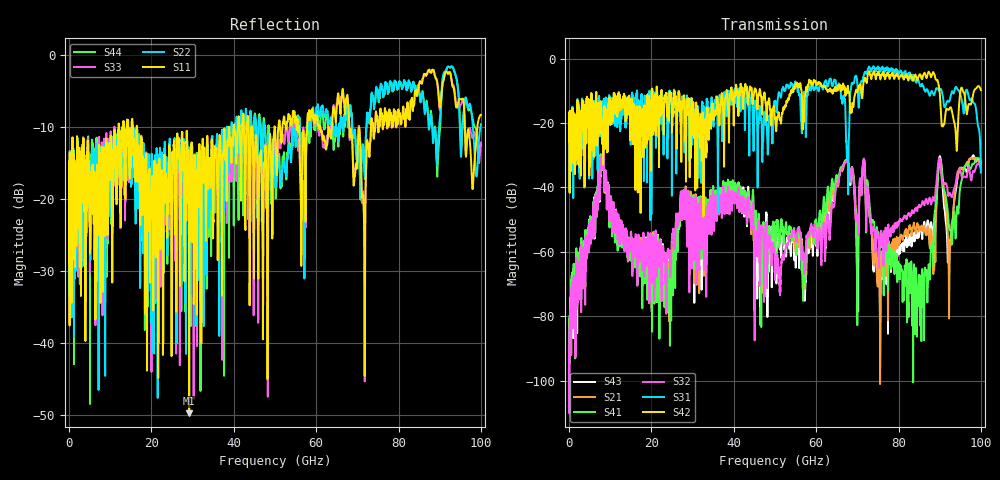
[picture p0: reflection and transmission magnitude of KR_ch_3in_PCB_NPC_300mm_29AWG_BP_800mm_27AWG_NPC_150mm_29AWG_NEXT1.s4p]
# GHz S RI R 45
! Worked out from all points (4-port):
!   4000 points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, 25 MHz to 100 GHz, reference 45 ohm
!   strongest paths, dB at 25 MHz, 25.02 GHz, 50.02 GHz, 75.03 GHz, 100 GHz:
!     S42: -21.2, -20.7, -18.6, -4.1, -9.8
!     S31: -21.2, -20.5, -13.3, -2.4, -35.4
!     S32: -90.3, -54.9, -66.2, -55.3, -34.2
!     S41: -89.1, -62.9, -60.0, -54.4, -31.9
!     S21: -90.0, -59.7, -58.1, -68.7, -32.8
!     S43: -91.5, -58.0, -58.5, -68.0, -32.3
!   lowest |S11| = -49.8 dB at 29.18 GHz (marker M1), VSWR 1.01, Z = 45 + j0.291 ohm
!   |S11| at or under -10 dB: start of sweep to 12.07 GHz; 16.48 GHz to 39.95 GHz (23.48 GHz wide, 83.2 % of centre); 44.41 GHz to 49.91 GHz (5.506 GHz wide, 11.7 % of centre)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
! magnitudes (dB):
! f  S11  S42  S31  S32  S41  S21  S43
! 25 MHz  -16.5  -21.2  -21.2  -90.3  -89.1  -90.0  -91.5
! 8.025 GHz  -15.4  -26.5  -16.7  -31.5  -31.3  -31.9  -30.9
! 29.18 GHz  -49.8  -16.3  -31.5  -54.9  -48.8  -52.0  -50.4
! 57.12 GHz  -11.9  -13.5  -10.8  -66.3  -68.8  -70.9  -69.2
! 67.3 GHz  -6.2  -9.5  -25.7  -32.0  -31.6  -31.7  -31.6
! 84.8 GHz  -5.0  -5.8  -6.7  -46.2  -70.1  -51.6  -54.9
! 100 GHz  -8.4  -9.8  -35.4  -34.2  -31.9  -32.8  -32.3
